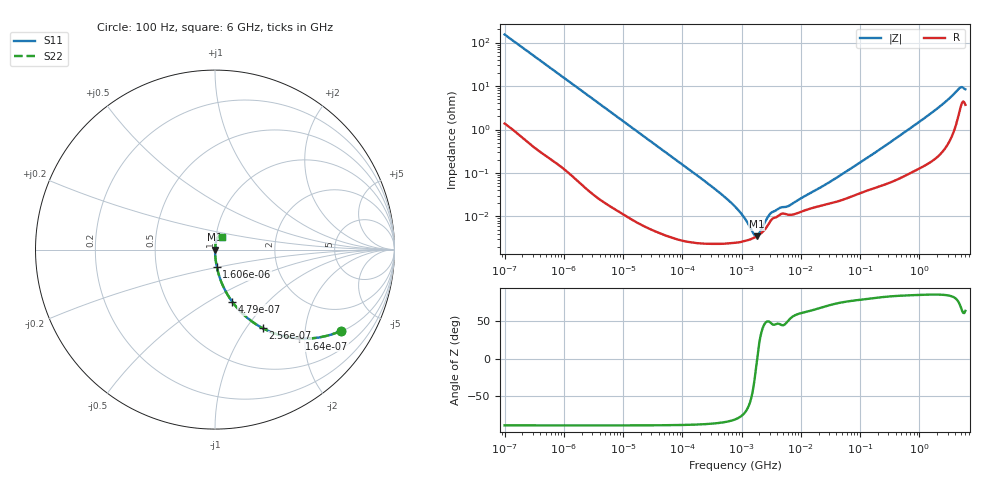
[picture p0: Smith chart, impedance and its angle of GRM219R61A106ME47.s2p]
!Murata Part Number: GRM219R61A106ME47
!These Parameters are Measured in Series Mode Connection
!Data Generated on Mar 30, 2021
!  o--ll--o
!Port1  Port2
!  o------o
!Operation Temp=25[degC], DC Bias Voltage=0[V]
!Freq. Start=100[Hz] Stop=6[GHz] 401[Steps]
# Hz S RI R 50
!Freq.(Hz) S11(Real) S11(Imag) S21(Real) S21(Imag) S12(Real) S12(Imag) S22(Real) S22(Imag)
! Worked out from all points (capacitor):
!   401 points, 100 Hz to 6 GHz, reference 50 ohm
!   read as one part in series: C = 10.4 uF near 109 Hz
!   lowest |Z| = 3.52 mohm at 1.814 MHz (marker M1)
!   series resonance near 1.832 MHz, so ESL is about 730 pH
!   S11 on the Smith chart (normalised r, x): 100 Hz: 1.03, -3.06; 164 Hz: 1.02, -1.88; 256 Hz: 1.01, -1.20; 479 Hz: 1.01, -0.64; 1.606 kHz: 1.00, -0.19; 6 GHz: 1.07, +0.15
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100  0.6997 -0.4539  0.3003 0.4539  0.3003 0.4539  0.6997 -0.4539
164  0.4691 -0.4947  0.5309 0.4947  0.5309 0.4947  0.4691 -0.4947
256  0.2676 -0.4387  0.7324 0.4387  0.7324 0.4387  0.2676 -0.4387
479  0.0961 -0.2908  0.9039 0.2908  0.9039 0.2908  0.0961 -0.2908
858  0.033 -0.1745  0.967 0.1745  0.967 0.1745  0.033 -0.1745
1606  0.00999 -0.0959  0.99 0.0959  0.99 0.0959  0.00999 -0.0959
2008  0.0065 -0.077  0.9935 0.077  0.9935 0.077  0.0065 -0.077
6433  0.000752 -0.0243  0.9992 0.0243  0.9992 0.0243  0.000752 -0.0243
40335  5.71e-05 -0.0039  0.9999 0.0039  0.9999 0.0039  5.71e-05 -0.0039
316350  2.37e-05 -0.000485  1 0.000485  1 0.000485  2.37e-05 -0.000485
774597  2.48e-05 -0.000168  1 0.000168  1 0.000168  2.48e-05 -0.000168
1108252  2.7e-05 -9.08e-05  1 9.08e-05  1 9.08e-05  2.7e-05 -9.08e-05
1813585  3.52e-05 -1.7e-06  1 1.7e-06  1 1.7e-06  3.52e-05 -1.7e-06
2713602  5.98e-05 7.05e-05  0.9999 -7.05e-05  0.9999 -7.05e-05  5.98e-05 7.05e-05
4246196  0.000105 0.000111  0.9999 -0.000111  0.9999 -0.000111  0.000105 0.000111
6353432  0.000109 0.00014  0.9999 -0.00014  0.9999 -0.00014  0.000109 0.00014
1.555665e7  0.000157 0.000329  0.9998 -0.000329  0.9998 -0.000329  0.000157 0.000329
4.165952e7  0.000222 0.000773  0.9998 -0.000773  0.9998 -0.000773  0.000222 0.000773
3.124326e8  0.000617 0.00489  0.9994 -0.00489  0.9994 -0.00489  0.000617 0.00489
1.873145e9  0.00293 0.028  0.9971 -0.028  0.9971 -0.028  0.00293 0.028
4.796499e9  0.0327 0.0808  0.9673 -0.0808  0.9673 -0.0808  0.0327 0.0808
6e9  0.0408 0.0697  0.9592 -0.0697  0.9592 -0.0697  0.0408 0.0697
